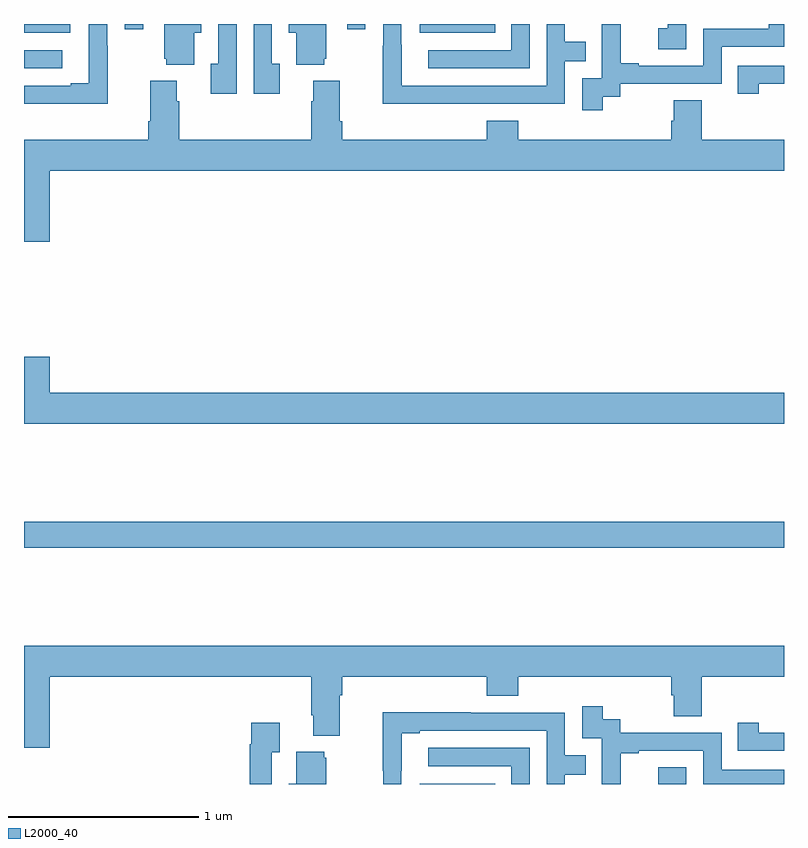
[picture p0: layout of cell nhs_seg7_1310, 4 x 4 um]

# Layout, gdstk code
import gdstk
lib = gdstk.Library(unit=1e-6, precision=1e-09)
def R(c, l, rs):  # rectangles x0, y0, x1, y1
    for r in rs: c.add(gdstk.rectangle(r[:2], r[2:], *l))
def P(c, l, *ps):  # polygons
    for p in ps: c.add(gdstk.Polygon(p, *l))
L2000_40 = (2000, 40)

nhs_seg7_1310 = lib.new_cell('nhs_seg7_1310')
R(nhs_seg7_1310, L2000_40, [(203.084,1052,203.48,1052.002), (204.339,1052,204.486,1052.089), (201,1053.244,205,1053.38), (201,1055.766,201.202,1055.862), (201,1055.954,201.244,1056), (203.084,1055.954,203.48,1056), (201.531,1055.973,201.627,1056), (202.701,1055.973,202.797,1056)])
P(nhs_seg7_1310, L2000_40, [(204.486,1056),(204.388,1056),(204.388,1055.977),(204.339,1055.977),(204.339,1055.868),(204.486,1055.868)],
  [(203.351,1055.58),(203.847,1055.58),(203.847,1055.805),(203.957,1055.805),(203.957,1055.906),(203.847,1055.906),(203.847,1056),(203.751,1056),(203.751,1055.676),(202.987,1055.676),(202.987,1055.891),(202.986,1055.891),(202.986,1056),(202.89,1056),(202.89,1055.885),(202.888,1055.885),(202.888,1055.579),(203.351,1055.579)],
  [(201.441,1055.885),(201.438,1055.885),(201.438,1056),(201.342,1056),(201.342,1055.689),(201.245,1055.689),(201.245,1055.676),(201,1055.676),(201,1055.579),(201.441,1055.579)],
  [(202.119,1056),(202.023,1056),(202.023,1055.79),(201.983,1055.79),(201.983,1055.634),(202.119,1055.634)],
  [(202.345,1055.79),(202.305,1055.79),(202.305,1056),(202.209,1056),(202.209,1055.634),(202.345,1055.634)],
  [(204.046,1055.617),(204.138,1055.617),(204.138,1055.685),(204.672,1055.685),(204.672,1055.88),(205,1055.88),(205,1056),(204.921,1056),(204.921,1055.976),(204.576,1055.976),(204.576,1055.781),(204.235,1055.781),(204.235,1055.794),(204.14,1055.794),(204.14,1056),(204.041,1056),(204.041,1055.945),(204.042,1055.945),(204.042,1055.715),(203.937,1055.715),(203.937,1055.547),(204.046,1055.547)],
  [(203.661,1056),(203.565,1056),(203.565,1055.862),(203.127,1055.862),(203.127,1055.766),(203.661,1055.766)],
  [(202.58,1055.817),(202.591,1055.817),(202.591,1056),(202.394,1056),(202.394,1055.954),(202.433,1055.954),(202.433,1055.786),(202.58,1055.786)],
  [(201.895,1055.954),(201.934,1055.954),(201.934,1056),(201.737,1056),(201.737,1055.817),(201.749,1055.817),(201.749,1055.786),(201.895,1055.786)],
  [(204.868,1055.685),(205,1055.685),(205,1055.781),(204.757,1055.781),(204.757,1055.634),(204.868,1055.634)],
  [(201.136,1055.228),(205,1055.228),(205,1055.392),(204.567,1055.392),(204.567,1055.6),(204.419,1055.6),(204.419,1055.49),(204.407,1055.49),(204.407,1055.392),(203.6,1055.392),(203.6,1055.491),(203.435,1055.491),(203.435,1055.392),(202.676,1055.392),(202.676,1055.488),(202.663,1055.488),(202.663,1055.701),(202.523,1055.701),(202.523,1055.594),(202.511,1055.594),(202.511,1055.392),(201.818,1055.392),(201.818,1055.594),(201.805,1055.594),(201.805,1055.701),(201.665,1055.701),(201.665,1055.488),(201.653,1055.488),(201.653,1055.392),(201,1055.392),(201,1054.854),(201.136,1054.854)],
  [(205,1054.06),(201.136,1054.06),(201.136,1054.249),(201,1054.249),(201,1053.896),(205,1053.896)],
  [(201.136,1052.564),(202.511,1052.564),(202.511,1052.362),(202.523,1052.362),(202.523,1052.255),(202.663,1052.255),(202.663,1052.468),(202.676,1052.468),(202.676,1052.564),(203.435,1052.564),(203.435,1052.465),(203.6,1052.465),(203.6,1052.564),(204.407,1052.564),(204.407,1052.466),(204.419,1052.466),(204.419,1052.356),(204.567,1052.356),(204.567,1052.564),(205,1052.564),(205,1052.728),(201,1052.728),(201,1052.19),(201.136,1052.19)],
  [(204.14,1052.163),(204.235,1052.163),(204.235,1052.175),(204.576,1052.175),(204.576,1052),(205,1052),(205,1052.076),(204.672,1052.076),(204.672,1052.271),(204.138,1052.271),(204.138,1052.34),(204.046,1052.34),(204.046,1052.41),(203.937,1052.41),(203.937,1052.241),(204.042,1052.241),(204.042,1052.012),(204.041,1052.012),(204.041,1052),(204.14,1052)],
  [(202.986,1052.071),(202.987,1052.071),(202.987,1052.268),(203.083,1052.268),(203.083,1052.28),(203.751,1052.28),(203.751,1052),(203.847,1052),(203.847,1052.05),(203.957,1052.05),(203.957,1052.151),(203.847,1052.151),(203.847,1052.376),(203.351,1052.376),(203.351,1052.378),(202.888,1052.378),(202.888,1052.071),(202.89,1052.071),(202.89,1052),(202.986,1052)],
  [(202.305,1052.167),(202.345,1052.167),(202.345,1052.323),(202.197,1052.323),(202.197,1052.21),(202.189,1052.21),(202.189,1052),(202.305,1052)],
  [(205,1052.271),(204.868,1052.271),(204.868,1052.323),(204.757,1052.323),(204.757,1052.175),(205,1052.175)],
  [(203.661,1052.19),(203.127,1052.19),(203.127,1052.094),(203.565,1052.094),(203.565,1052),(203.661,1052)],
  [(202.591,1052.139),(202.58,1052.139),(202.58,1052.17),(202.433,1052.17),(202.433,1052.002),(202.394,1052.002),(202.394,1052),(202.591,1052)])

lib.write_gds('nhs_seg7_1310.gds')
